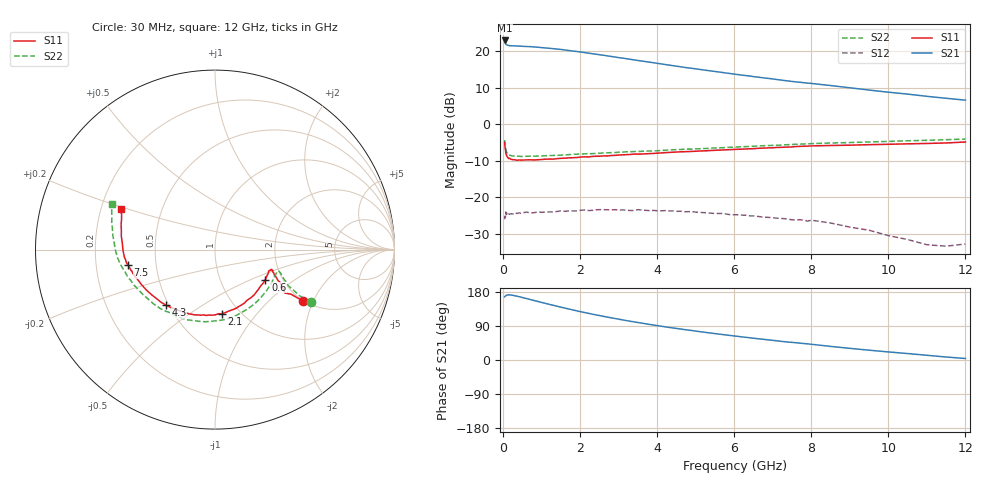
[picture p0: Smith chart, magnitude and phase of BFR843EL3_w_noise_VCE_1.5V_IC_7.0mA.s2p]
! Infineon Technologies  Discrete & RF Semiconductors
! BFR843EL3
! VCE =  1.5 V,  IC =  7.0 mA
! Common Emitter S-Parameters:  Aug 2013
# GHz  S  MA  R  50
!  f  S11  S21  S12  S22
! GHz  MAG  ANG  MAG  ANG  MAG  ANG  MAG  ANG
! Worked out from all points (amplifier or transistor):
!   103 points, 30 MHz to 12 GHz, reference 50 ohm
!   highest |S21| = 23.0 dB at 30 MHz (marker M1)
!   |S21| within 3 dB of that: start of sweep to 1.887 GHz
!   unconditionally stable (mu >= 1): 247.7 MHz to 251.4 MHz; 6.052 GHz to end of sweep
!   at 400 MHz: K = 0.99, MSG = 22.8 dB, |S12| = -24.2 dB
!   at 3.7 GHz: K = 0.81, MSG = 20.4 dB, |S12| = -23.5 dB
!   at 12 GHz: K = 4.03, MAG = 10.7 dB, |S12| = -32.8 dB
!   lowest NFmin = 0.87 dB at 450 MHz
!   S11 on the Smith chart (normalised r, x): 30 MHz: 1.98, -1.66; 600 MHz: 1.64, -0.61; 2.1 GHz: 0.83, -0.68; 4.3 GHz: 0.48, -0.36; 7.5 GHz: 0.34, -0.08; 12 GHz: 0.28, +0.19
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0.03  0.5647 -30.3  14.06 166.5  0.0502 32.2  0.6085 -28.9
0.04  0.4909 -30.4  13.35 167.4  0.0546 25.1  0.536 -28.6
0.06  0.4063 -26.7  12.58 169.5  0.0632 20.6  0.4547 -26.2
0.1  0.3584 -23.0  12.13 171.6  0.0598 11.1  0.4016 -21.4
0.15  0.3433 -20.0  11.95 172.0  0.0588 7.7  0.3801 -19.0
0.25  0.3279 -20.4  11.88 170.6  0.0593 3.6  0.3683 -19.1
0.6  0.3266 -30.8  11.62 162.1  0.0631 3.4  0.3656 -30.5
1  0.3304 -46.3  11.22 151.7  0.0625 2.5  0.3696 -46.3
1.4  0.3397 -61.0  10.71 141.7  0.0643 1.2  0.377 -61.1
1.7  0.3482 -71.2  10.24 134.5  0.0654 1.2  0.3849 -71.6
2.1  0.3594 -83.9  9.611 125.4  0.0673 -0.7  0.3944 -84.3
2.6  0.3703 -97.8  8.815 115.1  0.0679 -2.7  0.4057 -97.9
3.2  0.3851 -111.4  7.905 103.9  0.0667 -6.2  0.4214 -111.8
3.7  0.3953 -121.6  7.216 95.5  0.0665 -8.3  0.4299 -121.8
4.1  0.4062 -127.9  6.712 89.1  0.0655 -10.2  0.4388 -128.3
4.3  0.412 -131.5  6.476 86.0  0.0651 -10.8  0.4453 -131.7
5.1  0.4313 -143.5  5.646 74.8  0.0624 -14.8  0.4631 -143.6
6.1  0.4556 -155.4  4.79 62.2  0.0577 -18.9  0.491 -155.7
7.5  0.4917 -170.0  3.86 46.5  0.0493 -22.2  0.5303 -170.2
8.5  0.5134 179.8  3.394 35.9  0.0446 -24.8  0.5552 -179.9
10.5  0.541 165.2  2.592 17.0  0.0265 -17.8  0.595 165.2
12  0.5728 156.6  2.145 4.0  0.023 20.9  0.6285 156.4
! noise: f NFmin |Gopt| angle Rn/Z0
0.45  0.87  0.11  24  0.12
0.9  0.89  0.12  40  0.13
1.5  0.92  0.13  53  0.13
1.9  0.93  0.13  59  0.13
2.4  0.95  0.14  71  0.12
3.5  0.99  0.15  90  0.12
5.5  1.06  0.2  127  0.11
8  1.14  0.29  166  0.08
10  1.21  0.41  208  0.05
